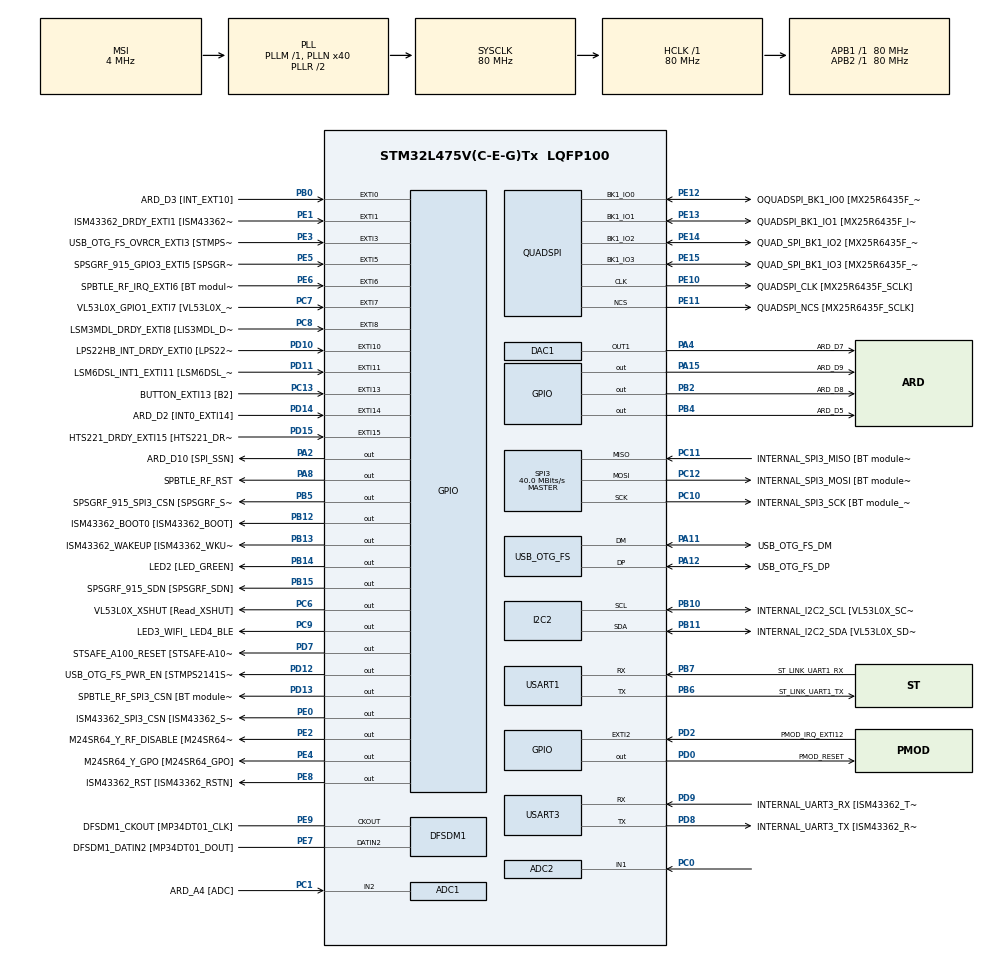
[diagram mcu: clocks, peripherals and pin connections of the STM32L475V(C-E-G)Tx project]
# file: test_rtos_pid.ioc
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ADC1.Channel-0\#ChannelRegularConversion=ADC_CHANNEL_2
ADC1.NbrOfConversionFlag=1
ADC1.OffsetNumber-0\#ChannelRegularConversion=ADC_OFFSET_NONE
ADC1.Rank-0\#ChannelRegularConversion=1
ADC1.Resolution=ADC_RESOLUTION_10B
ADC1.SamplingTime-0\#ChannelRegularConversion=ADC_SAMPLETIME_2CYCLES_5
ADC1.master=1
ADC2.Channel-0\#ChannelRegularConversion=ADC_CHANNEL_1
ADC2.NbrOfConversionFlag=1
ADC2.OffsetNumber-0\#ChannelRegularConversion=ADC_OFFSET_NONE
ADC2.Rank-0\#ChannelRegularConversion=1
ADC2.Resolution=ADC_RESOLUTION_10B
ADC2.SamplingTime-0\#ChannelRegularConversion=ADC_SAMPLETIME_2CYCLES_5
ARM.CMSIS.5.4.0.CMSISJjCORE=true
ARM.CMSIS.5.4.0.CMSISJjDSP=true
FREERTOS.Tasks01=defaultTask,24,128,StartDefaultTask,Default,NULL,Dynamic,NULL,NULL
Mcu.Family=STM32L4
Mcu.Name=STM32L475V(C-E-G)Tx
Mcu.Package=LQFP100
NVIC.EXTI15_10_IRQn=true\:5\:0\:false\:false\:true\:true\:true\:true\:true
NVIC.EXTI9_5_IRQn=true\:5\:0\:false\:false\:true\:true\:true\:true\:true
NVIC.PriorityGroup=NVIC_PRIORITYGROUP_4
PA0.GPIO_Label=ARD_D1 [UART4_TX]
PA0.Signal=UART4_TX
PA1.GPIO_Label=ARD_D0 [UART4_RX]
PA1.Signal=UART4_RX
PA10.GPIO_Label=USB_OTG_FS_ID
PA10.Signal=USB_OTG_FS_ID
PA11.GPIO_Label=USB_OTG_FS_DM
PA11.Mode=Device_Only
PA11.Signal=USB_OTG_FS_DM
PA12.GPIO_Label=USB_OTG_FS_DP
PA12.Mode=Device_Only
PA12.Signal=USB_OTG_FS_DP
PA13\ (JTMS-SWDIO).GPIO_Label=SYS_JTMS_SWDIO
PA13\ (JTMS-SWDIO).Mode=Serial_Wire
PA13\ (JTMS-SWDIO).Signal=SYS_JTMS-SWDIO
PA14\ (JTCK-SWCLK).GPIO_Label=SYS_JTCK_SWCLK
PA14\ (JTCK-SWCLK).Mode=Serial_Wire
PA14\ (JTCK-SWCLK).Signal=SYS_JTCK-SWCLK
PA15\ (JTDI).GPIO_Label=ARD_D9
PA15\ (JTDI).Signal=GPIO_Output
PA2.GPIO_Label=ARD_D10 [SPI_SSN]
PA2.Signal=GPIO_Output
PA3.GPIO_Label=ARD_D4
PA3.Signal=S_TIM2_CH4
PA4.GPIO_Label=ARD_D7
PA4.Signal=SharedAnalog_PA4
PA5.Signal=COMP_DAC12_group
PA6.GPIO_Label=ARD_D12 [SPI1_MISO]
PA6.Signal=SPI1_MISO
PA7.GPIO_Label=ARD_D11 [SPI1_MOSI]
PA7.Signal=SPI1_MOSI
PA8.GPIO_Label=SPBTLE_RF_RST
PA8.Signal=GPIO_Output
PA9.GPIO_Label=USB_OTG_FS_VBUS [STMPS2141STR_OUT]
PA9.Signal=USB_OTG_FS_VBUS
PB0.GPIO_Label=ARD_D3 [INT_EXT10]
PB0.Signal=GPXTI0
PB1.GPIO_Label=ARD_D6 [ADC1_IN6]
PB1.Signal=ADCx_IN16
PB10.GPIO_Label=INTERNAL_I2C2_SCL [VL53L0X_SCL]
PB10.GPIO_Pu=GPIO_PULLUP
PB10.Mode=I2C
PB10.Signal=I2C2_SCL
PB11.GPIO_Label=INTERNAL_I2C2_SDA [VL53L0X_SDA]
PB11.GPIO_Pu=GPIO_PULLUP
PB11.Mode=I2C
PB11.Signal=I2C2_SDA
PB12.GPIO_Label=ISM43362_BOOT0 [ISM43362_BOOT]
PB12.Signal=GPIO_Output
PB13.GPIO_Label=ISM43362_WAKEUP [ISM43362_WKUP]
PB13.Signal=GPIO_Output
PB14.GPIO_Label=LED2 [LED_GREEN]
PB14.Signal=GPIO_Output
PB15.GPIO_Label=SPSGRF_915_SDN [SPSGRF_SDN]
PB15.Signal=GPIO_Output
PB2.GPIO_Label=ARD_D8
PB2.Signal=GPIO_Output
PB3\ (JTDO-TRACESWO).GPIO_Label=SYS_JTD0_SWO
PB3\ (JTDO-TRACESWO).Signal=SYS_JTDO-SWO
PB4\ (NJTRST).GPIO_Label=ARD_D5
PB4\ (NJTRST).Signal=GPIO_Output
PB5.GPIO_Label=SPSGRF_915_SPI3_CSN [SPSGRF_SPI_CS]
PB5.PinState=GPIO_PIN_SET
PB5.Signal=GPIO_Output
PB6.GPIO_Label=ST_LINK_UART1_TX
PB6.Mode=Asynchronous
PB6.Signal=USART1_TX
PB7.GPIO_Label=ST_LINK_UART1_RX
PB7.Mode=Asynchronous
PB7.Signal=USART1_RX
PB8.GPIO_Label=ARD_D15 [I2C1_SCL]
PB8.Signal=I2C1_SCL
PB9.GPIO_Label=ARD_D14 [I2C1_SDA]
PB9.Signal=I2C1_SDA
PC0.Signal=ADCx_IN1
PC1.GPIO_Label=ARD_A4 [ADC]
PC1.Signal=ADCx_IN2
PC10.GPIO_Label=INTERNAL_SPI3_SCK [BT module_SPI_SCLK] [ISM43362_SCK]
PC10.Mode=Full_Duplex_Master
PC10.Signal=SPI3_SCK
PC11.GPIO_Label=INTERNAL_SPI3_MISO [BT module_SPI_MISO] [ISM43362_MISO]
PC11.Mode=Full_Duplex_Master
PC11.Signal=SPI3_MISO
PC12.GPIO_Label=INTERNAL_SPI3_MOSI [BT module_SPI_MOSI] [ISM43362_MOSI]
PC12.Mode=Full_Duplex_Master
PC12.Signal=SPI3_MOSI
PC13.GPIO_Label=BUTTON_EXTI13 [B2]
PC13.GPIO_ModeDefaultEXTI=GPIO_MODE_IT_FALLING
PC13.Signal=GPXTI13
PC14-OSC32_IN\ (PC14).Mode=LSE-External-Oscillator
PC14-OSC32_IN\ (PC14).Signal=RCC_OSC32_IN
PC15-OSC32_OUT\ (PC15).Mode=LSE-External-Oscillator
PC15-OSC32_OUT\ (PC15).Signal=RCC_OSC32_OUT
PC2.GPIO_Label=ARD_A3 [ADC]
PC2.Signal=ADCx_IN3
PC3.GPIO_Label=ARD_A2 [ADC]
PC3.Signal=ADCx_IN4
PC4.GPIO_Label=ARD_A1 [ADC]
PC4.Signal=ADCx_IN13
PC5.GPIO_Label=ARD_A0 [ADC]
PC5.Signal=ADCx_IN14
PC6.GPIO_Label=VL53L0X_XSHUT [Read_XSHUT]
PC6.Signal=GPIO_Output
PC7.GPIO_Label=VL53L0X_GPIO1_EXTI7 [VL53L0X_GPIO1]
PC7.Signal=GPXTI7
PC8.GPIO_Label=LSM3MDL_DRDY_EXTI8 [LIS3MDL_DRDY]
PC8.Signal=GPXTI8
PC9.GPIO_Label=LED3_WIFI_ LED4_BLE
PC9.Signal=GPIO_Output
PD0.GPIO_Label=PMOD_RESET
PD0.Signal=GPIO_Output
PD1.GPIO_Label=PMOD_SPI2_SCK
PD1.Signal=SPI2_SCK
PD10.GPIO_Label=LPS22HB_INT_DRDY_EXTI0 [LPS22HB_INT_DRDY] 
PD10.Signal=GPXTI10
PD11.GPIO_Label=LSM6DSL_INT1_EXTI11 [LSM6DSL_INT1]
PD11.Signal=GPXTI11
PD12.GPIO_Label=USB_OTG_FS_PWR_EN [STMPS2141STR_EN]
PD12.Signal=GPIO_Output
PD13.GPIO_Label=SPBTLE_RF_SPI3_CSN [BT module_SPI_CS]
PD13.PinState=GPIO_PIN_SET
PD13.Signal=GPIO_Output
PD14.GPIO_Label=ARD_D2 [INT0_EXTI14]
PD14.Signal=GPXTI14
PD15.GPIO_Label=HTS221_DRDY_EXTI15 [HTS221_DRDY]
PD15.Signal=GPXTI15
PD2.GPIO_Label=PMOD_IRQ_EXTI12
PD2.Signal=GPXTI2
PD3.GPIO_Label=PMOD_UART2_CTS
PD3.Signal=USART2_CTS
PD4.GPIO_Label=PMOD_UART2_RTS
PD4.Signal=USART2_RTS
PD5.GPIO_Label=PMOD_UART2_TX
PD5.Signal=USART2_TX
PD6.GPIO_Label=PMOD_UART2_RX
PD6.Signal=USART2_RX
PD7.GPIO_Label=STSAFE_A100_RESET [STSAFE-A100_RESET]
PD7.Signal=GPIO_Output
PD8.GPIO_Label=INTERNAL_UART3_TX [ISM43362_RX]
PD8.Mode=Asynchronous
PD8.Signal=USART3_TX
PD9.GPIO_Label=INTERNAL_UART3_RX [ISM43362_TX]
PD9.Mode=Asynchronous
PD9.Signal=USART3_RX
PE0.GPIO_Label=ISM43362_SPI3_CSN [ISM43362_SSN]
PE0.PinState=GPIO_PIN_SET
PE0.Signal=GPIO_Output
PE1.GPIO_Label=ISM43362_DRDY_EXTI1 [ISM43362_DATARDY]
PE1.Signal=GPXTI1
PE10.GPIO_Label=QUADSPI_CLK [MX25R6435F_SCLK]
PE10.Mode=Single Bank
PE10.Signal=QUADSPI_CLK
PE11.GPIO_Label=QUADSPI_NCS [MX25R6435F_SCLK]
PE11.Mode=Single Bank
PE11.Signal=QUADSPI_NCS
PE12.GPIO_Label=OQUADSPI_BK1_IO0 [MX25R6435F_IO0]
PE12.Mode=Single Bank
PE12.Signal=QUADSPI_BK1_IO0
PE13.GPIO_Label=QUADSPI_BK1_IO1 [MX25R6435F_IO1]
PE13.Mode=Single Bank
PE13.Signal=QUADSPI_BK1_IO1
PE14.GPIO_Label=QUAD_SPI_BK1_IO2 [MX25R6435F_IO2]
PE14.Mode=Single Bank
PE14.Signal=QUADSPI_BK1_IO2
PE15.GPIO_Label=QUAD_SPI_BK1_IO3 [MX25R6435F_IO3]
PE15.Mode=Single Bank
PE15.Signal=QUADSPI_BK1_IO3
PE2.GPIO_Label=M24SR64_Y_RF_DISABLE [M24SR64_RFDIS]
PE2.Signal=GPIO_Output
PE3.GPIO_Label=USB_OTG_FS_OVRCR_EXTI3 [STMPS2141STR_FAULT]
PE3.Signal=GPXTI3
PE4.GPIO_Label=M24SR64_Y_GPO [M24SR64_GPO]
PE4.Signal=GPIO_Output
PE5.GPIO_Label=SPSGRF_915_GPIO3_EXTI5 [SPSGRF_GPIO_3]
PE5.Signal=GPXTI5
PE6.GPIO_Label=SPBTLE_RF_IRQ_EXTI6 [BT module_SPI_IRQ]
PE6.Signal=GPXTI6
PE7.GPIO_Label=DFSDM1_DATIN2 [MP34DT01_DOUT]
PE7.Signal=S_DATAIN2DFSDM1
PE8.GPIO_Label=ISM43362_RST [ISM43362_RSTN]
PE8.Signal=GPIO_Output
PE9.GPIO_Label=DFSDM1_CKOUT [MP34DT01_CLK]
PE9.Signal=S_CKOUTDFSDM1
ProjectManager.HeapSize=0x200
ProjectManager.StackSize=0x400
ProjectManager.TargetToolchain=STM32CubeIDE
QUADSPI.ClockPrescaler=2
QUADSPI.FifoThreshold=4
QUADSPI.FlashSize=23
QUADSPI.SampleShifting=QSPI_SAMPLE_SHIFTING_HALFCYCLE
RCC.ADCFreq_Value=48000000
RCC.AHBFreq_Value=80000000
RCC.APB1Freq_Value=80000000
RCC.APB1TimFreq_Value=80000000
RCC.APB2Freq_Value=80000000
RCC.APB2TimFreq_Value=80000000
RCC.CortexFreq_Value=80000000
RCC.HCLKFreq_Value=80000000
RCC.HSE_VALUE=8000000
RCC.HSI_VALUE=16000000
RCC.MSI_VALUE=4000000
RCC.PLLN=40
RCC.PLLSAI1N=24
RCC.SYSCLKFreq_VALUE=80000000
RCC.SYSCLKSource=RCC_SYSCLKSOURCE_PLLCLK
RCC.USBFreq_Value=48000000
RCC.VCOOutputFreq_Value=160000000
SH.ADCx_IN1.0=ADC1_IN1
SH.ADCx_IN1.1=ADC2_IN1,IN1-Single-Ended
SH.ADCx_IN13.0=ADC1_IN13
SH.ADCx_IN14.0=ADC1_IN14
SH.ADCx_IN16.0=ADC1_IN16
SH.ADCx_IN2.0=ADC1_IN2,IN2-Single-Ended
SH.ADCx_IN3.0=ADC1_IN3
SH.ADCx_IN4.0=ADC1_IN4
SH.COMP_DAC12_group.0=DAC1_OUT2
SH.S_CKOUTDFSDM1.0=DFSDM1_CKOUT,CKOUT
SH.S_CKOUTDFSDM1.1=DFSDM1_CKOUT,PDM_SPI_Input_from_ch12_and_Internal_Clock
SH.S_DATAIN2DFSDM1.0=DFSDM1_DATIN2,PDM_SPI_Input_from_ch12_and_Internal_Clock
SH.S_TIM2_CH4.0=TIM2_CH4
SH.SharedAnalog_PA4.0=ADC1_IN9
SH.SharedAnalog_PA4.1=DAC1_OUT1,DAC_OUT1
SPI3.CalculateBaudRate=40.0 MBits/s
SPI3.Direction=SPI_DIRECTION_2LINES
SPI3.Mode=SPI_MODE_MASTER
SPI3.VirtualType=VM_MASTER
USART1.VirtualMode-Asynchronous=VM_ASYNC
USART3.VirtualMode-Asynchronous=VM_ASYNC
USB_OTG_FS.VirtualMode=Device_Only
VP_ARM.CMSIS_VS_CMSISJjCORE_5.1.2_5.4.0.Mode=CMSISJjCORE
VP_ARM.CMSIS_VS_CMSISJjDSP_1.5.2_5.4.0.Mode=CMSISJjDSP
VP_FREERTOS_VS_CMSIS_V2.Mode=CMSIS_V2
board=B-L475E-IOT01A1

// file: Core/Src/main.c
/* USER CODE BEGIN Header */
/**
  ******************************************************************************
  * @file           : main.c
  * @brief          : Main program body
  ******************************************************************************
  * @attention
  *
  * Copyright (c) 2023 STMicroelectronics.
  * All rights reserved.
  *
  * This software is licensed under terms that can be found in the LICENSE file
  * in the root directory of this software component.
  * If no LICENSE file comes with this software, it is provided AS-IS.
  *
  ******************************************************************************
  */
/* USER CODE END Header */
#include "main.h"
#include "cmsis_os.h"
#include "adc.h"
#include "dac.h"
#include "dfsdm.h"
#include "i2c.h"
#include "quadspi.h"
#include "spi.h"
#include "usart.h"
#include "usb_otg.h"
#include "gpio.h"

/* USER CODE BEGIN Includes */
#include "arm_math.h" //<< si usas esto agregar ARM_MATH_CM4
							//__FPU_PRESENT=1
							//__TARGET_FPU_VFP en config
#include "pidTask.h"
#include "identification_ls.h"
#include "identification_rls.h"
#include "identification_tasks.h"
#include "app_adc.h"
#include "pid.h"
/* USER CODE END Includes */

/* USER CODE BEGIN PD */
#define PID
// Noise signal limits
#define DAC_REFERENCE_VALUE_HIGH   666  // 1023 = 3.3V, 666 = 2.15V
#define DAC_REFERENCE_VALUE_LOW    356  // 1023 = 3.3V, 356 = 1.15V
#define ADC0_CH_Y       3

//#define getVoltsSampleFrom(adc0Channel) 3.3*(float)adcRead((adc0Channel))/1023.0

static StackType_t taskIdentificationStack[configMINIMAL_STACK_SIZE*15];
static StaticTask_t taskIdentificationTCB;

t_IRLSdata* tIRLS1;
t_ILSdata* tILS1;
/* USER CODE END PD */

void SystemClock_Config(void);
void PeriphCommonClock_Config(void);
void MX_FREERTOS_Init(void);
/* USER CODE BEGIN PFP */
void receiveData (float* buffer);
/* USER CODE END PFP */

/* USER CODE BEGIN 0 */
//arm_matrix_instance_f32 E;      // Error(k) = y(k) - aux4 -> 1 x 1
// Generación del DAC y captura del ADC

static float getVoltsSampleFrom(ADC_HandleTypeDef *ptr_hadc) {
	return (3.3*(float)adcRead(ptr_hadc)/1023.0);
}
void receiveData(float* buffer) {
    float Y, U;

    uint16_t dacValue = 0;
    uint32_t dac_convert = 0;

    dacValue = rand() % 65535;
    dac_convert = (dacValue * 996)/65535;//996
    dacWrite(dacValue);
    vTaskDelay(5);
    U = (float)dacValue * 3.3 / 65535.0;
    uint32_t sample = adcRead(&hadc1);
    Y = 3.3 * (float)sample / 996.0;

    printf ("%d / %d \r\n", ((int16_t)sample), ((int16_t)dac_convert));

    buffer[0] = U;
    buffer[1] = Y;
}
/*void receiveData (float* buffer)
{
    float Y, U;

    uint16_t dacValue = 0;
    uint32_t adcValue = 0;

    // random = limite_inferior + rand() % (limite_superior +1 - limite_inferior);
    dacValue = DAC_REFERENCE_VALUE_LOW + rand() % (DAC_REFERENCE_VALUE_HIGH+1 - DAC_REFERENCE_VALUE_LOW);

    dacWrite( dacValue );

    // Need at least 2.5 us to uptate DAC.
    //delayInaccurateUs(5);

    // dacSample = (1023.0 / 3.3) * sampleInVolts
    // 1023.0 / 3.3 = 310.0
    U = (float) dacValue * 3.3 / 1023.0;
	Y = (float) getVoltsSampleFrom( &hadc2 );
	adcValue = adcRead(&hadc2);

	printf ("%d - %d \r\n", adcValue,dacValue);

	buffer[0] = U;
	buffer[1] = Y;
}*/
/* USER CODE END 0 */

int main(void)
{

  /* MCU Configuration--------------------------------------------------------*/

  /* Reset of all peripherals, Initializes the Flash interface and the Systick. */
  HAL_Init();

  /* Configure the system clock */
  SystemClock_Config();

/* Configure the peripherals common clocks */
  PeriphCommonClock_Config();

  /* Initialize all configured peripherals */
  MX_GPIO_Init();
  MX_DFSDM1_Init();
  MX_I2C2_Init();
  MX_QUADSPI_Init();
  MX_SPI3_Init();
  MX_USART1_UART_Init();
  MX_USART3_UART_Init();
  MX_USB_OTG_FS_PCD_Init();
  MX_ADC2_Init();
  MX_DAC1_Init();
  MX_ADC1_Init();
  /* USER CODE BEGIN 2 */
#if defined(PID)
  init_pid();
  /*xTaskCreate(
     pidControlTask,                 // Function that implements the task.
     (const char *)"pidControlTask", // Text name for the task.
     configMINIMAL_STACK_SIZE*2,     // Stack size in words, not bytes.
     0,                              // Parameter passed into the task.
     tskIDLE_PRIORITY+1,             // Priority at which the task is created.
     0                               // Pointer to the task created in the system
  );*/
#elif defined(ILS)
	tILS1 = (t_ILSdata*) malloc (sizeof(t_ILSdata));
	ILS_Init(tILS1, 50, 10, receiveData);

	xTaskCreate(
	  ILS_Task,                   // task function
	  "Identification Task",      // human-readable neame of task
	  configMINIMAL_STACK_SIZE,   // task stack size
	  (void*)tILS1,               // task parameter (cast to void*)
	  tskIDLE_PRIORITY+1,         // task priority
//	  taskIdentificationStack,    // task stack (StackType_t)
	  &taskIdentificationTCB      // pointer to Task TCB (StaticTask_t)
	);
#elif defined(STEP)
	init_ident_step();
#elif defined(POLE)
	init_pole();
#else
	tIRLS1 = (t_IRLSdata*) pvPortMalloc (sizeof(t_IRLSdata));
	IRLS_Init(tIRLS1, 10, receiveData);
	xTaskCreateStatic(
	   IRLS_Task,                  // task function
	   "Identification Task",      // human-readable neame of task
	   configMINIMAL_STACK_SIZE,   // task stack size
	   (void*)tIRLS1,              // task parameter (cast to void*)
	   tskIDLE_PRIORITY+1,         // task priority
	   taskIdentificationStack,    // task stack (StackType_t)
	   &taskIdentificationTCB      // pointer to Task TCB (StaticTask_t)
	);
#endif
  vTaskStartScheduler(); // Initialize scheduler
  /* USER CODE END 2 */

  /* Init scheduler */
  osKernelInitialize();  /* Call init function for freertos objects (in freertos.c) */
  MX_FREERTOS_Init();

  /* Start scheduler */
  osKernelStart();

  /* We should never get here as control is now taken by the scheduler */
  /* Infinite loop */
  while (1)
  {

  }
}

void SystemClock_Config(void)
{
  RCC_OscInitTypeDef RCC_OscInitStruct = {0};
  RCC_ClkInitTypeDef RCC_ClkInitStruct = {0};

  /** Configure the main internal regulator output voltage
  */
  if (HAL_PWREx_ControlVoltageScaling(PWR_REGULATOR_VOLTAGE_SCALE1) != HAL_OK)
  {
    Error_Handler();
  }

  /** Configure LSE Drive Capability
  */
  HAL_PWR_EnableBkUpAccess();
  __HAL_RCC_LSEDRIVE_CONFIG(RCC_LSEDRIVE_LOW);

  /** Initializes the RCC Oscillators according to the specified parameters
  * in the RCC_OscInitTypeDef structure.
  */
  RCC_OscInitStruct.OscillatorType = RCC_OSCILLATORTYPE_LSE|RCC_OSCILLATORTYPE_MSI;
  RCC_OscInitStruct.LSEState = RCC_LSE_ON;
  RCC_OscInitStruct.MSIState = RCC_MSI_ON;
  RCC_OscInitStruct.MSICalibrationValue = 0;
  RCC_OscInitStruct.MSIClockRange = RCC_MSIRANGE_6;
  RCC_OscInitStruct.PLL.PLLState = RCC_PLL_ON;
  RCC_OscInitStruct.PLL.PLLSource = RCC_PLLSOURCE_MSI;
  RCC_OscInitStruct.PLL.PLLM = 1;
  RCC_OscInitStruct.PLL.PLLN = 40;
  RCC_OscInitStruct.PLL.PLLP = RCC_PLLP_DIV7;
  RCC_OscInitStruct.PLL.PLLQ = RCC_PLLQ_DIV2;
  RCC_OscInitStruct.PLL.PLLR = RCC_PLLR_DIV2;
  if (HAL_RCC_OscConfig(&RCC_OscInitStruct) != HAL_OK)
  {
    Error_Handler();
  }

  /** Initializes the CPU, AHB and APB buses clocks
  */
  RCC_ClkInitStruct.ClockType = RCC_CLOCKTYPE_HCLK|RCC_CLOCKTYPE_SYSCLK
                              |RCC_CLOCKTYPE_PCLK1|RCC_CLOCKTYPE_PCLK2;
  RCC_ClkInitStruct.SYSCLKSource = RCC_SYSCLKSOURCE_PLLCLK;
  RCC_ClkInitStruct.AHBCLKDivider = RCC_SYSCLK_DIV1;
  RCC_ClkInitStruct.APB1CLKDivider = RCC_HCLK_DIV1;
  RCC_ClkInitStruct.APB2CLKDivider = RCC_HCLK_DIV1;

  if (HAL_RCC_ClockConfig(&RCC_ClkInitStruct, FLASH_LATENCY_4) != HAL_OK)
  {
    Error_Handler();
  }

  /** Enable MSI Auto calibration
  */
  HAL_RCCEx_EnableMSIPLLMode();
}

void PeriphCommonClock_Config(void)
{
  RCC_PeriphCLKInitTypeDef PeriphClkInit = {0};

  /** Initializes the peripherals clock
  */
  PeriphClkInit.PeriphClockSelection = RCC_PERIPHCLK_USB|RCC_PERIPHCLK_ADC;
  PeriphClkInit.AdcClockSelection = RCC_ADCCLKSOURCE_PLLSAI1;
  PeriphClkInit.UsbClockSelection = RCC_USBCLKSOURCE_PLLSAI1;
  PeriphClkInit.PLLSAI1.PLLSAI1Source = RCC_PLLSOURCE_MSI;
  PeriphClkInit.PLLSAI1.PLLSAI1M = 1;
  PeriphClkInit.PLLSAI1.PLLSAI1N = 24;
  PeriphClkInit.PLLSAI1.PLLSAI1P = RCC_PLLP_DIV7;
  PeriphClkInit.PLLSAI1.PLLSAI1Q = RCC_PLLQ_DIV2;
  PeriphClkInit.PLLSAI1.PLLSAI1R = RCC_PLLR_DIV2;
  PeriphClkInit.PLLSAI1.PLLSAI1ClockOut = RCC_PLLSAI1_48M2CLK|RCC_PLLSAI1_ADC1CLK;
  if (HAL_RCCEx_PeriphCLKConfig(&PeriphClkInit) != HAL_OK)
  {
    Error_Handler();
  }
}

void Error_Handler(void)
{
  __disable_irq();
  while (1)
  {
  }
}
